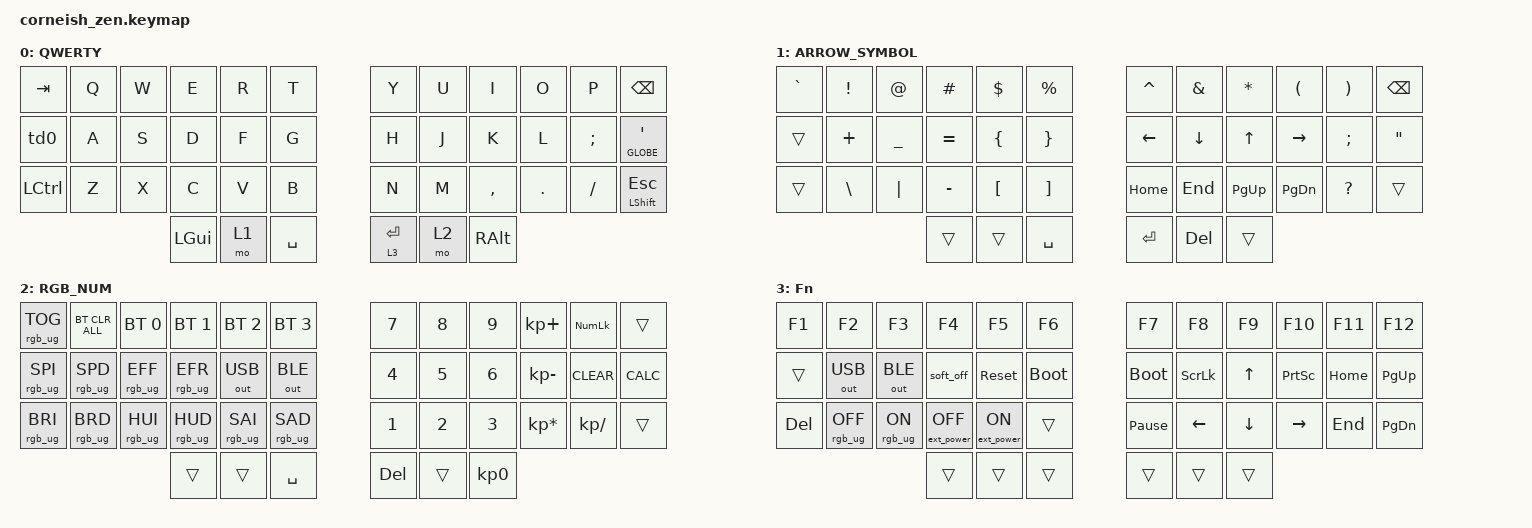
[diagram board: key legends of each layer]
/*
 * Copyright (c) 2020 The ZMK Contributors
 *
 * SPDX-License-Identifier: MIT
 */

#include <behaviors.dtsi>
#include <dt-bindings/zmk/bt.h>
#include <dt-bindings/zmk/ext_power.h>
#include <dt-bindings/zmk/keys.h>
#include <dt-bindings/zmk/outputs.h>
#include <dt-bindings/zmk/rgb.h>

/ {
    chosen {
        zmk,matrix_transform = &default_transform;
        // zmk,matrix_transform = &five_col1umn_transform;
    };
};

/ {
behaviors {
    td0: td0 {
        compatible = "zmk,behavior-tap-dance";
        label = "TD0";
        #binding-cells = <0>;
        bindings = <&kp LEFT_SHIFT>, <&kp CAPS>;
    };

};

    keymap {
        compatible = "zmk,keymap";
        default_layer {
            display-name = "QWERTY";

            // --------------------------------------------------------------------------------
            // |  TAB |  Q  |  W  |  E  |  R  |  T  |           |  Y  |  U  |  I  |  O  |  P  | BKSP |
            // | SHFT |  A  |  S  |  D  |  F  |  G  |           |  H  |  J  |  K  |  L  |  ;  |   '  | 
            // | CTRL |  Z  |  X  |  C  |  V  |  B  |           |  N  |  M  |  ,  |  .  |  /  | ESC  |
            //                   | GUI | RSE | SPC |           | ENT | LWR | ALT |

            bindings = <
                &kp TAB    &kp Q  &kp W  &kp E  &kp R  &kp T                  &kp Y  &kp U  &kp I      &kp O    &kp P     &kp BSPC
                &td0       &kp A  &kp S  &kp D  &kp F  &kp G                  &kp H  &kp J  &kp K      &kp L    &kp SEMI  &mt GLOBE SQT
                &kp LCTRL  &kp Z  &kp X  &kp C  &kp V  &kp B                  &kp N  &kp M  &kp COMMA  &kp DOT  &kp FSLH  &mt LSHIFT ESC 
                          &kp LGUI  &mo 1  &kp SPACE                  &lt 3 ENTER   &mo 2  &kp RALT
            >;
        };

    lower_layer {
            display-name = "ARROW_SYMBOL";

            // -----------------------------------------------------------------------------------------
            // |  `  |  !  |  @  |  #  |  $  |  %  |           |  ^  |  &  |  *  |  (  |  )  | BKSP |
            // | SHFT|  +  |  _  |  =  |  {  |  }  |           |LEFT | DOW |  UP |RIGHT|  ;  |   "  |
            // | CTRL|  \  |  |  |  -  |  [  |  ]  |           |HOME | END |PGUP |PGDN |  ?  | RET2 |
            //                     | ALT |      | SPC  |           | ENT | DEL | RALT |

            bindings = <
                &kp GRAVE  &kp EXCL   &kp AT        &kp HASH   &kp DLLR  &kp PRCNT          &kp CARET  &kp AMPS  &kp ASTRK  &kp LPAR  &kp RPAR   &kp BSPC
                &trans     &kp PLUS   &kp UNDER     &kp EQUAL  &kp LBRC  &kp RBRC           &kp LEFT   &kp DOWN    &kp UP   &kp RIGHT &kp SEMI   &kp DQT
                &trans     &kp BSLH   &kp PIPE      &kp MINUS  &kp LBKT  &kp RBKT           &kp HOME   &kp END   &kp PG_UP  &kp PG_DN &kp QMARK  &trans
                                             &trans    &trans           &kp SPACE                   &kp ENTER   &kp DEL  &trans
            >;
        };

        raise_layer {
            display-name = "RGB_NUM";

            // -----------------------------------------------------------------------------------------
            // |  TOG | BT_C | BT_1 | BT_2 | BT_3 | BT_4 |            |  7  |  8  |  9  |  +  | NUM | BKSP |
            // | SPI  |  SPD | EFF  | EFR  |      |      |            |  4  |  5  |  6  |  -  |CLEAR| calc |
            // | BRI  |  BRD | HUI  | HUD  | SAI  | SAD  |            |  1  |  2  |  3  | *   |  /  |  ENT |
            //                       | GUI |      | SPC  |            | DEL |     |  0  |

            bindings = <
                &rgb_ug RGB_TOG  &bt BT_CLR_ALL   &bt BT_SEL 0     &bt BT_SEL 1     &bt BT_SEL 2     &bt BT_SEL 3                &kp  N7  &kp  N8  &kp  N9  &kp KP_PLUS      &kp KP_NUM    &trans
                &rgb_ug RGB_SPI  &rgb_ug RGB_SPD  &rgb_ug RGB_EFF  &rgb_ug RGB_EFR  &out OUT_USB     &out OUT_BLE                &kp  N4  &kp  N5  &kp  N6  &kp KP_MINUS     &kp CLEAR     &kp K_CALC
                &rgb_ug RGB_BRI  &rgb_ug RGB_BRD  &rgb_ug RGB_HUI  &rgb_ug RGB_HUD  &rgb_ug RGB_SAI  &rgb_ug RGB_SAD             &kp  N1  &kp  N2  &kp  N3  &kp KP_ASTERISK  &kp KP_SLASH  &trans
                                                           &trans           &trans           &kp SPACE                   &kp DEL  &trans  &kp KP_N0
          >;
        };

        layer_3 {
            display-name = "Fn";

            // -----------------------------------------------------------------------------------------
            // | F1  |  F2  |  F3  |  F4  |  F5  |  F6  |           | F7  |  F8  |  F9  | F10  | F11  | F12  |
            // |     | usb  |      |      | RESET| BOOT |           |BOOT |SCRLL | UP  |PRINT | HOME | PGUP |
            // | DEL |RGBOF |RBGON | epon | expof|      |           |PAUSE|LEFT  |DOWN |RIGHT | END  | PGDN |
            //                     | ALT  |      | SPC  |           | SPC |      | GUI |

            bindings = <
                &kp F1  &kp F2           &kp F3         &kp F4             &kp F5              &kp F6             &kp F7           &kp F8          &kp F9    &kp F10          &kp F11    &kp F12
                &trans  &out OUT_USB     &out OUT_BLE   &soft_off          &sys_reset          &bootloader        &bootloader      &kp SCROLLLOCK  &kp UP    &kp PRINTSCREEN  &kp HOME   &kp PG_UP
                &kp DEL &rgb_ug RGB_OFF  &rgb_ug RGB_ON &ext_power EP_OFF  &ext_power EP_ON    &trans             &kp PAUSE_BREAK  &kp LEFT        &kp DOWN  &kp RIGHT        &kp END    &kp PG_DN   
                            &trans  &trans      &trans                                         &trans       &trans  &trans
            >;
        };
    };
};
